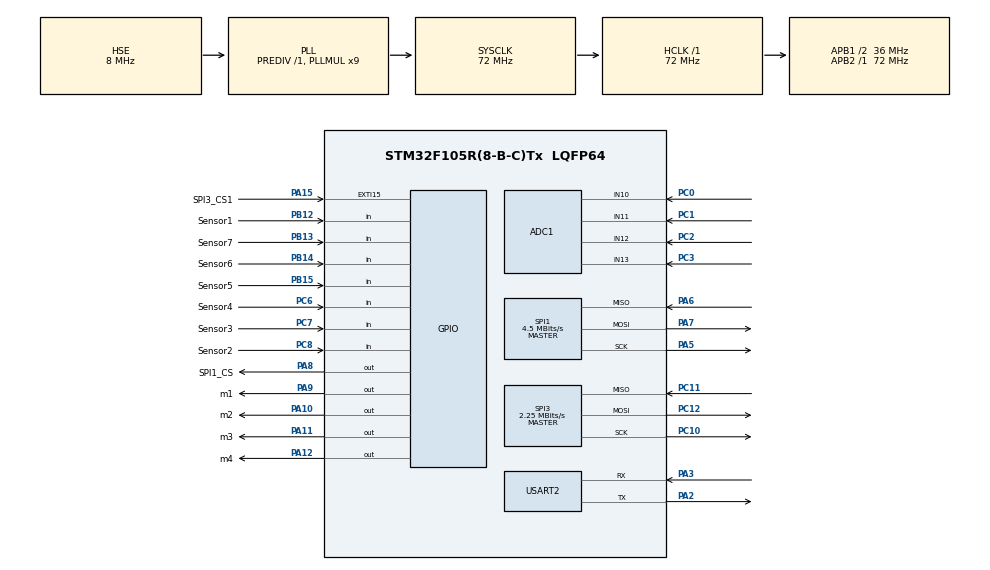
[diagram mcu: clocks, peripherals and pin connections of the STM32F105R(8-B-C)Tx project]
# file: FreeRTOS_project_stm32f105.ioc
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ADC1.Channel-0\#ChannelRegularConversion=ADC_CHANNEL_10
ADC1.NbrOfConversion=1
ADC1.NbrOfConversionFlag=1
ADC1.Rank-0\#ChannelRegularConversion=1
ADC1.SamplingTime-0\#ChannelRegularConversion=ADC_SAMPLETIME_55CYCLES_5
ADC1.master=1
Dma.ADC1.0.Direction=DMA_PERIPH_TO_MEMORY
Dma.ADC1.0.Instance=DMA1_Channel1
Dma.ADC1.0.MemDataAlignment=DMA_MDATAALIGN_WORD
Dma.ADC1.0.MemInc=DMA_MINC_ENABLE
Dma.ADC1.0.Mode=DMA_CIRCULAR
Dma.ADC1.0.PeriphDataAlignment=DMA_PDATAALIGN_WORD
Dma.ADC1.0.PeriphInc=DMA_PINC_DISABLE
Dma.ADC1.0.Priority=DMA_PRIORITY_LOW
Dma.Request0=ADC1
Dma.Request1=USART2_RX
Dma.USART2_RX.1.Direction=DMA_PERIPH_TO_MEMORY
Dma.USART2_RX.1.Instance=DMA1_Channel6
Dma.USART2_RX.1.MemDataAlignment=DMA_MDATAALIGN_BYTE
Dma.USART2_RX.1.MemInc=DMA_MINC_ENABLE
Dma.USART2_RX.1.Mode=DMA_NORMAL
Dma.USART2_RX.1.PeriphDataAlignment=DMA_PDATAALIGN_BYTE
Dma.USART2_RX.1.PeriphInc=DMA_PINC_DISABLE
Dma.USART2_RX.1.Priority=DMA_PRIORITY_LOW
FREERTOS.HEAP_NUMBER=3
FREERTOS.INCLUDE_vTaskDelayUntil=1
FREERTOS.Tasks01=defaultTask,0,128,StartDefaultTask,Default,NULL,Dynamic,NULL,NULL;Task2,0,128,Task2_Init,Default,NULL,Dynamic,NULL,NULL;Task3,0,128,Task3_Init,Default,NULL,Dynamic,NULL,NULL;Task4,0,128,Task4_Init,Default,NULL,Dynamic,NULL,NULL;Task5,0,128,Task5_Init,Default,NULL,Dynamic,NULL,NULL;Task6,0,128,Task6_Init,Default,NULL,Dynamic,NULL,NULL;Task7,0,128,Task7_Init,Default,NULL,Dynamic,NULL,NULL;Task8,0,128,Task8_Init,Default,NULL,Dynamic,NULL,NULL;Task9,-3,128,Task9_Init,Default,NULL,Dynamic,NULL,NULL
FREERTOS.configTOTAL_HEAP_SIZE=5616
FREERTOS.configUSE_NEWLIB_REENTRANT=1
FREERTOS.configUSE_TIMERS=0
Mcu.Family=STM32F1
Mcu.Name=STM32F105R(8-B-C)Tx
Mcu.Package=LQFP64
NVIC.DMA1_Channel1_IRQn=true\:5\:0\:false\:false\:true\:true\:false\:true\:true
NVIC.DMA1_Channel6_IRQn=true\:5\:0\:false\:false\:true\:true\:false\:true\:true
NVIC.PriorityGroup=NVIC_PRIORITYGROUP_4
NVIC.TIM1_UP_IRQn=true\:15\:0\:false\:false\:true\:false\:false\:true\:true
NVIC.TimeBase=TIM1_UP_IRQn
NVIC.TimeBaseIP=TIM1
NVIC.USART2_IRQn=true\:5\:0\:false\:false\:true\:true\:true\:true\:true
PA10.GPIO_Label=m2
PA10.Signal=GPIO_Output
PA11.GPIO_Label=m3
PA11.Signal=GPIO_Output
PA12.GPIO_Label=m4
PA12.Signal=GPIO_Output
PA15.GPIO_Label=SPI3_CS1
PA15.Signal=GPXTI15
PA2.Mode=Asynchronous
PA2.Signal=USART2_TX
PA3.Mode=Asynchronous
PA3.Signal=USART2_RX
PA5.Mode=Full_Duplex_Master
PA5.Signal=SPI1_SCK
PA6.Mode=Full_Duplex_Master
PA6.Signal=SPI1_MISO
PA7.Mode=Full_Duplex_Master
PA7.Signal=SPI1_MOSI
PA8.GPIO_Label=SPI1_CS
PA8.Signal=GPIO_Output
PA9.GPIO_Label=m1
PA9.Signal=GPIO_Output
PB12.GPIO_Label=Sensor1
PB12.Signal=GPIO_Input
PB13.GPIO_Label=Sensor7
PB13.Signal=GPIO_Input
PB14.GPIO_Label=Sensor6
PB14.Signal=GPIO_Input
PB15.GPIO_Label=Sensor5
PB15.Signal=GPIO_Input
PC0.Signal=ADCx_IN10
PC1.Signal=ADCx_IN11
PC10.Mode=Full_Duplex_Master
PC10.Signal=SPI3_SCK
PC11.Mode=Full_Duplex_Master
PC11.Signal=SPI3_MISO
PC12.Mode=Full_Duplex_Master
PC12.Signal=SPI3_MOSI
PC2.Signal=ADCx_IN12
PC3.Signal=ADCx_IN13
PC6.GPIO_Label=Sensor4
PC6.Signal=GPIO_Input
PC7.GPIO_Label=Sensor3
PC7.Signal=GPIO_Input
PC8.GPIO_Label=Sensor2
PC8.Signal=GPIO_Input
PD0-OSC_IN.Mode=HSE-External-Oscillator
PD0-OSC_IN.Signal=RCC_OSC_IN
PD1-OSC_OUT.Mode=HSE-External-Oscillator
PD1-OSC_OUT.Signal=RCC_OSC_OUT
ProjectManager.HeapSize=0x200
ProjectManager.StackSize=0x400
ProjectManager.TargetToolchain=STM32CubeIDE
RCC.ADCPresc=RCC_ADCPCLK2_DIV6
RCC.AHBFreq_Value=72000000
RCC.APB1CLKDivider=RCC_HCLK_DIV2
RCC.APB1Freq_Value=36000000
RCC.APB1TimFreq_Value=72000000
RCC.APB2Freq_Value=72000000
RCC.APB2TimFreq_Value=72000000
RCC.HCLKFreq_Value=72000000
RCC.PLLMUL=RCC_PLL_MUL9
RCC.PLLSourceVirtual=RCC_PLLSOURCE_HSE
RCC.SYSCLKFreq_VALUE=72000000
RCC.SYSCLKSource=RCC_SYSCLKSOURCE_PLLCLK
RCC.USBFreq_Value=48000000
SH.ADCx_IN10.0=ADC1_IN10,IN10
SH.ADCx_IN11.0=ADC1_IN11,IN11
SH.ADCx_IN12.0=ADC1_IN12,IN12
SH.ADCx_IN13.0=ADC1_IN13,IN13
SPI1.BaudRatePrescaler=SPI_BAUDRATEPRESCALER_16
SPI1.CLKPhase=SPI_PHASE_2EDGE
SPI1.CalculateBaudRate=4.5 MBits/s
SPI1.Direction=SPI_DIRECTION_2LINES
SPI1.Mode=SPI_MODE_MASTER
SPI1.VirtualType=VM_MASTER
SPI3.BaudRatePrescaler=SPI_BAUDRATEPRESCALER_16
SPI3.CLKPhase=SPI_PHASE_2EDGE
SPI3.CalculateBaudRate=2.25 MBits/s
SPI3.Direction=SPI_DIRECTION_2LINES
SPI3.Mode=SPI_MODE_MASTER
SPI3.VirtualType=VM_MASTER
USART2.VirtualMode=VM_ASYNC
VP_FREERTOS_VS_CMSIS_V1.Mode=CMSIS_V1
VP_SYS_VS_tim1.Mode=TIM1
board=custom

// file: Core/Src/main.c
/* USER CODE BEGIN Header */
/**
 ******************************************************************************
 * @file           : main.c
 * @brief          : Main program body
 ******************************************************************************
 * @attention
 *
 * Copyright (c) 2023 STMicroelectronics.
 * All rights reserved.
 *
 * This software is licensed under terms that can be found in the LICENSE file
 * in the root directory of this software component.
 * If no LICENSE file comes with this software, it is provided AS-IS.
 *
 ******************************************************************************
 */
/* USER CODE END Header */
#include "main.h"
#include "cmsis_os.h"

/* USER CODE BEGIN Includes */
#include <stdbool.h>
#include <stdlib.h>
#include <string.h>
#include <stdio.h>
#include "MAX31865_lib.h"
#include "MAX31865_lib2.h"
/* USER CODE END Includes */

/* USER CODE BEGIN PTD */
bool task2=0;
int i=0;
int a[1]={3};
int adc_val1=0;
uint8_t str[10]="";
int adc_val2=0;
uint8_t str2[10]="";
int adc_val3=0;
uint8_t str3[10]="";
int adc_val4=0;
uint8_t str4[10]="";

bool durum=0;
uint8_t Sensor1;
uint8_t Sensor2;
uint8_t Sensor3;
uint8_t Sensor4;
uint8_t Sensor5;
uint8_t Sensor6;
uint8_t Sensor7;

uint32_t currentTime = 0;
uint32_t previousTime = 0;
char txdata[8];
char txdatanew[8];

uint8_t final_data[8]={0,0,0,0,0,0,0,0};

char TxData;
uint8_t rxBuf[8];
uint8_t rxindex = 0;
uint8_t rxindex_2 = 0;

char txdatanew[8];
uint8_t Buf_1ch[1];
uint8_t len=0;

char temperature[10];
char temperatureHopper[10];
float PT100_Temperature = 0.0f;
float PT100_TemperatureHopper = 0.0f;
float temp=0;
float temp1=0;

/* USER CODE END PTD */

ADC_HandleTypeDef hadc1;
DMA_HandleTypeDef hdma_adc1;

SPI_HandleTypeDef hspi1;
SPI_HandleTypeDef hspi3;

UART_HandleTypeDef huart2;
DMA_HandleTypeDef hdma_usart2_rx;

osThreadId defaultTaskHandle;
osThreadId Task2Handle;
osThreadId Task3Handle;
osThreadId Task4Handle;
osThreadId Task5Handle;
osThreadId Task6Handle;
osThreadId Task7Handle;
osThreadId Task8Handle;
osThreadId Task9Handle;

void SystemClock_Config(void);
static void MX_GPIO_Init(void);
static void MX_DMA_Init(void);
static void MX_USART2_UART_Init(void);
static void MX_SPI1_Init(void);
static void MX_SPI3_Init(void);
static void MX_ADC1_Init(void);
void StartDefaultTask(void const * argument);
void Task2_Init(void const * argument);
void Task3_Init(void const * argument);
void Task4_Init(void const * argument);
void Task5_Init(void const * argument);
void Task6_Init(void const * argument);
void Task7_Init(void const * argument);
void Task8_Init(void const * argument);
void Task9_Init(void const * argument);

/* USER CODE BEGIN 0 */
void HAL_UART_RxCpltCallback(UART_HandleTypeDef *huart) {

}
float Get_Temperature_Cylinder(){
	PT100_Temperature = MAX31865_Get_Temperature();
	if (PT100_Temperature >= 0) {
		PT100_Temperature = PT100_Temperature + 0.05;
		sprintf(temperature, "+%d.%d", (uint16_t) (PT100_Temperature),((uint16_t) (PT100_Temperature * 100)- ((uint16_t) PT100_Temperature) * 100) / 10);
		temp = (float)atof(temperature);
	}
	else {
		PT100_Temperature = -PT100_Temperature + 0.05;
		sprintf(temperature, "-%d.%d", (uint16_t) (PT100_Temperature),((uint16_t) (PT100_Temperature * 100)- ((uint16_t) PT100_Temperature) * 100) / 10);
		temp = (float)atof(temperature);
	}
	return temp;
}

float Get_Temperature_Hopper(){
	PT100_TemperatureHopper = MAX31865_Get_Temperature2();
	if (PT100_TemperatureHopper >= 0) {
		PT100_TemperatureHopper = PT100_TemperatureHopper + 0.05;
		sprintf(temperatureHopper, "+%d.%d", (uint16_t) (PT100_TemperatureHopper),((uint16_t) (PT100_TemperatureHopper * 100)- ((uint16_t) PT100_TemperatureHopper) * 100) / 10);
		temp1 = (float)atof(temperatureHopper);
	}
	else {
		PT100_TemperatureHopper = -PT100_TemperatureHopper + 0.05;
		sprintf(temperatureHopper, "-%d.%d", (uint16_t) (PT100_TemperatureHopper),((uint16_t) (PT100_TemperatureHopper * 100)- ((uint16_t) PT100_TemperatureHopper) * 100) / 10);
		temp1 = (float)atof(temperatureHopper);
	}
	return temp1;
}
void sendData(char *data) {
	len = sizeof(txdata) / sizeof(txdata[0]);
	for (int i = 0; i < len; i++) {
		txdata[i] = data[i];
	}
	sprintf(txdatanew, "%s",txdata);
	HAL_UART_Transmit(&huart2, (uint8_t*)&txdatanew, 8, 500);
}
/* USER CODE END 0 */

int main(void)
{

  /* MCU Configuration--------------------------------------------------------*/

  /* Reset of all peripherals, Initializes the Flash interface and the Systick. */
  HAL_Init();

  /* Configure the system clock */
  SystemClock_Config();

  /* Initialize all configured peripherals */
  MX_GPIO_Init();
  MX_DMA_Init();
  MX_USART2_UART_Init();
  MX_SPI1_Init();
  MX_SPI3_Init();
  MX_ADC1_Init();
  /* USER CODE BEGIN 2 */
	MAX31865_Init(3); // num of wires
	MAX31865_2_Init(3); // num of wires

	HAL_UART_Receive_DMA(&huart2, Buf_1ch, 8); // dmayı tekrar kurduk yine alabilsin diye
	__HAL_DMA_DISABLE_IT(&hdma_usart2_rx, DMA_IT_HT);
  /* USER CODE END 2 */

  /* Create the thread(s) */
  /* definition and creation of defaultTask */
  osThreadDef(defaultTask, StartDefaultTask, osPriorityNormal, 0, 128);
  defaultTaskHandle = osThreadCreate(osThread(defaultTask), NULL);

  /* definition and creation of Task2 */
  osThreadDef(Task2, Task2_Init, osPriorityNormal, 0, 128);
  Task2Handle = osThreadCreate(osThread(Task2), NULL);

  /* definition and creation of Task3 */
  osThreadDef(Task3, Task3_Init, osPriorityNormal, 0, 128);
  Task3Handle = osThreadCreate(osThread(Task3), NULL);

  /* definition and creation of Task4 */
  osThreadDef(Task4, Task4_Init, osPriorityNormal, 0, 128);
  Task4Handle = osThreadCreate(osThread(Task4), NULL);

  /* definition and creation of Task5 */
  osThreadDef(Task5, Task5_Init, osPriorityNormal, 0, 128);
  Task5Handle = osThreadCreate(osThread(Task5), NULL);

  /* definition and creation of Task6 */
  osThreadDef(Task6, Task6_Init, osPriorityNormal, 0, 128);
  Task6Handle = osThreadCreate(osThread(Task6), NULL);

  /* definition and creation of Task7 */
  osThreadDef(Task7, Task7_Init, osPriorityNormal, 0, 128);
  Task7Handle = osThreadCreate(osThread(Task7), NULL);

  /* definition and creation of Task8 */
  osThreadDef(Task8, Task8_Init, osPriorityNormal, 0, 128);
  Task8Handle = osThreadCreate(osThread(Task8), NULL);

  /* definition and creation of Task9 */
  osThreadDef(Task9, Task9_Init, osPriorityIdle, 0, 128);
  Task9Handle = osThreadCreate(osThread(Task9), NULL);

  /* Start scheduler */
  osKernelStart();

  /* We should never get here as control is now taken by the scheduler */
  /* Infinite loop */
	while (1)
	{

	}
}

void SystemClock_Config(void)
{
  RCC_OscInitTypeDef RCC_OscInitStruct = {0};
  RCC_ClkInitTypeDef RCC_ClkInitStruct = {0};
  RCC_PeriphCLKInitTypeDef PeriphClkInit = {0};

  /** Initializes the RCC Oscillators according to the specified parameters
  * in the RCC_OscInitTypeDef structure.
  */
  RCC_OscInitStruct.OscillatorType = RCC_OSCILLATORTYPE_HSE;
  RCC_OscInitStruct.HSEState = RCC_HSE_ON;
  RCC_OscInitStruct.HSEPredivValue = RCC_HSE_PREDIV_DIV1;
  RCC_OscInitStruct.HSIState = RCC_HSI_ON;
  RCC_OscInitStruct.Prediv1Source = RCC_PREDIV1_SOURCE_HSE;
  RCC_OscInitStruct.PLL.PLLState = RCC_PLL_ON;
  RCC_OscInitStruct.PLL.PLLSource = RCC_PLLSOURCE_HSE;
  RCC_OscInitStruct.PLL.PLLMUL = RCC_PLL_MUL9;
  RCC_OscInitStruct.PLL2.PLL2State = RCC_PLL_NONE;
  if (HAL_RCC_OscConfig(&RCC_OscInitStruct) != HAL_OK)
  {
    Error_Handler();
  }

  /** Initializes the CPU, AHB and APB buses clocks
  */
  RCC_ClkInitStruct.ClockType = RCC_CLOCKTYPE_HCLK|RCC_CLOCKTYPE_SYSCLK
                              |RCC_CLOCKTYPE_PCLK1|RCC_CLOCKTYPE_PCLK2;
  RCC_ClkInitStruct.SYSCLKSource = RCC_SYSCLKSOURCE_PLLCLK;
  RCC_ClkInitStruct.AHBCLKDivider = RCC_SYSCLK_DIV1;
  RCC_ClkInitStruct.APB1CLKDivider = RCC_HCLK_DIV2;
  RCC_ClkInitStruct.APB2CLKDivider = RCC_HCLK_DIV1;

  if (HAL_RCC_ClockConfig(&RCC_ClkInitStruct, FLASH_LATENCY_2) != HAL_OK)
  {
    Error_Handler();
  }
  PeriphClkInit.PeriphClockSelection = RCC_PERIPHCLK_ADC;
  PeriphClkInit.AdcClockSelection = RCC_ADCPCLK2_DIV6;
  if (HAL_RCCEx_PeriphCLKConfig(&PeriphClkInit) != HAL_OK)
  {
    Error_Handler();
  }

  /** Configure the Systick interrupt time
  */
  __HAL_RCC_PLLI2S_ENABLE();
}

static void MX_ADC1_Init(void)
{

  ADC_ChannelConfTypeDef sConfig = {0};

  /** Common config
  */
  hadc1.Instance = ADC1;
  hadc1.Init.ScanConvMode = ADC_SCAN_DISABLE;
  hadc1.Init.ContinuousConvMode = DISABLE;
  hadc1.Init.DiscontinuousConvMode = DISABLE;
  hadc1.Init.ExternalTrigConv = ADC_SOFTWARE_START;
  hadc1.Init.DataAlign = ADC_DATAALIGN_RIGHT;
  hadc1.Init.NbrOfConversion = 1;
  if (HAL_ADC_Init(&hadc1) != HAL_OK)
  {
    Error_Handler();
  }

  /** Configure Regular Channel
  */
  sConfig.Channel = ADC_CHANNEL_10;
  sConfig.Rank = ADC_REGULAR_RANK_1;
  sConfig.SamplingTime = ADC_SAMPLETIME_55CYCLES_5;
  if (HAL_ADC_ConfigChannel(&hadc1, &sConfig) != HAL_OK)
  {
    Error_Handler();
  }

}

static void MX_SPI1_Init(void)
{

  /* SPI1 parameter configuration*/
  hspi1.Instance = SPI1;
  hspi1.Init.Mode = SPI_MODE_MASTER;
  hspi1.Init.Direction = SPI_DIRECTION_2LINES;
  hspi1.Init.DataSize = SPI_DATASIZE_8BIT;
  hspi1.Init.CLKPolarity = SPI_POLARITY_LOW;
  hspi1.Init.CLKPhase = SPI_PHASE_2EDGE;
  hspi1.Init.NSS = SPI_NSS_SOFT;
  hspi1.Init.BaudRatePrescaler = SPI_BAUDRATEPRESCALER_16;
  hspi1.Init.FirstBit = SPI_FIRSTBIT_MSB;
  hspi1.Init.TIMode = SPI_TIMODE_DISABLE;
  hspi1.Init.CRCCalculation = SPI_CRCCALCULATION_DISABLE;
  hspi1.Init.CRCPolynomial = 10;
  if (HAL_SPI_Init(&hspi1) != HAL_OK)
  {
    Error_Handler();
  }

}

static void MX_SPI3_Init(void)
{

  /* SPI3 parameter configuration*/
  hspi3.Instance = SPI3;
  hspi3.Init.Mode = SPI_MODE_MASTER;
  hspi3.Init.Direction = SPI_DIRECTION_2LINES;
  hspi3.Init.DataSize = SPI_DATASIZE_8BIT;
  hspi3.Init.CLKPolarity = SPI_POLARITY_LOW;
  hspi3.Init.CLKPhase = SPI_PHASE_2EDGE;
  hspi3.Init.NSS = SPI_NSS_SOFT;
  hspi3.Init.BaudRatePrescaler = SPI_BAUDRATEPRESCALER_16;
  hspi3.Init.FirstBit = SPI_FIRSTBIT_MSB;
  hspi3.Init.TIMode = SPI_TIMODE_DISABLE;
  hspi3.Init.CRCCalculation = SPI_CRCCALCULATION_DISABLE;
  hspi3.Init.CRCPolynomial = 10;
  if (HAL_SPI_Init(&hspi3) != HAL_OK)
  {
    Error_Handler();
  }

}

static void MX_USART2_UART_Init(void)
{

  huart2.Instance = USART2;
  huart2.Init.BaudRate = 115200;
  huart2.Init.WordLength = UART_WORDLENGTH_8B;
  huart2.Init.StopBits = UART_STOPBITS_1;
  huart2.Init.Parity = UART_PARITY_NONE;
  huart2.Init.Mode = UART_MODE_TX_RX;
  huart2.Init.HwFlowCtl = UART_HWCONTROL_NONE;
  huart2.Init.OverSampling = UART_OVERSAMPLING_16;
  if (HAL_UART_Init(&huart2) != HAL_OK)
  {
    Error_Handler();
  }

}

static void MX_DMA_Init(void)
{

  /* DMA controller clock enable */
  __HAL_RCC_DMA1_CLK_ENABLE();

  /* DMA interrupt init */
  /* DMA1_Channel1_IRQn interrupt configuration */
  HAL_NVIC_SetPriority(DMA1_Channel1_IRQn, 5, 0);
  HAL_NVIC_EnableIRQ(DMA1_Channel1_IRQn);
  /* DMA1_Channel6_IRQn interrupt configuration */
  HAL_NVIC_SetPriority(DMA1_Channel6_IRQn, 5, 0);
  HAL_NVIC_EnableIRQ(DMA1_Channel6_IRQn);

}

static void MX_GPIO_Init(void)
{
  GPIO_InitTypeDef GPIO_InitStruct = {0};

  /* GPIO Ports Clock Enable */
  __HAL_RCC_GPIOD_CLK_ENABLE();
  __HAL_RCC_GPIOC_CLK_ENABLE();
  __HAL_RCC_GPIOA_CLK_ENABLE();
  __HAL_RCC_GPIOB_CLK_ENABLE();

  /*Configure GPIO pin Output Level */
  HAL_GPIO_WritePin(GPIOA, SPI1_CS_Pin|m1_Pin|m2_Pin|m3_Pin
                          |m4_Pin, GPIO_PIN_RESET);

  /*Configure GPIO pins : Sensor1_Pin Sensor7_Pin Sensor6_Pin Sensor5_Pin */
  GPIO_InitStruct.Pin = Sensor1_Pin|Sensor7_Pin|Sensor6_Pin|Sensor5_Pin;
  GPIO_InitStruct.Mode = GPIO_MODE_INPUT;
  GPIO_InitStruct.Pull = GPIO_NOPULL;
  HAL_GPIO_Init(GPIOB, &GPIO_InitStruct);

  /*Configure GPIO pins : Sensor4_Pin Sensor3_Pin Sensor2_Pin */
  GPIO_InitStruct.Pin = Sensor4_Pin|Sensor3_Pin|Sensor2_Pin;
  GPIO_InitStruct.Mode = GPIO_MODE_INPUT;
  GPIO_InitStruct.Pull = GPIO_NOPULL;
  HAL_GPIO_Init(GPIOC, &GPIO_InitStruct);

  /*Configure GPIO pins : SPI1_CS_Pin m1_Pin m2_Pin m3_Pin
                           m4_Pin */
  GPIO_InitStruct.Pin = SPI1_CS_Pin|m1_Pin|m2_Pin|m3_Pin
                          |m4_Pin;
  GPIO_InitStruct.Mode = GPIO_MODE_OUTPUT_PP;
  GPIO_InitStruct.Pull = GPIO_NOPULL;
  GPIO_InitStruct.Speed = GPIO_SPEED_FREQ_LOW;
  HAL_GPIO_Init(GPIOA, &GPIO_InitStruct);

  /*Configure GPIO pin : SPI3_CS1_Pin */
  GPIO_InitStruct.Pin = SPI3_CS1_Pin;
  GPIO_InitStruct.Mode = GPIO_MODE_IT_RISING;
  GPIO_InitStruct.Pull = GPIO_NOPULL;
  HAL_GPIO_Init(SPI3_CS1_GPIO_Port, &GPIO_InitStruct);

}

void StartDefaultTask(void const * argument)
{
  /* USER CODE BEGIN 5 */
	/* Infinite loop */
	for(;;)
	{
		i++;
		HAL_Delay(1000);
		if(i==3){
			task2=1;
		}
		osDelay(50);
	}
  /* USER CODE END 5 */
}

void Task2_Init(void const * argument)
{
  /* USER CODE BEGIN Task2_Init */
	/* Infinite loop */
	for(;;)
	{
		if(task2==1){
			HAL_GPIO_WritePin(GPIOA, GPIO_PIN_12, GPIO_PIN_SET);
			HAL_Delay(1000);
			HAL_GPIO_WritePin(GPIOA, GPIO_PIN_12, GPIO_PIN_RESET);
			HAL_Delay(1000);}
		osDelay(25);
	}
  /* USER CODE END Task2_Init */
}

void Task3_Init(void const * argument)
{
  /* USER CODE BEGIN Task3_Init */
	/* Infinite loop */
	for(;;)
	{
		ADC_ChannelConfTypeDef sConfig = {3};

		sConfig.Channel = ADC_CHANNEL_10;
		sConfig.Rank = ADC_REGULAR_RANK_1;
		sConfig.SamplingTime = ADC_SAMPLETIME_55CYCLES_5;
		if (HAL_ADC_ConfigChannel(&hadc1, &sConfig) != HAL_OK)
		{
			Error_Handler();
		}
		HAL_ADC_Start(&hadc1);
		HAL_ADC_PollForConversion(&hadc1,100);
		adc_val1=(float)HAL_ADC_GetValue(&hadc1);
		HAL_ADC_Stop(&hadc1);
		sprintf(str,"%d",adc_val1);
		HAL_UART_Transmit(&huart2,str,sizeof(str),500);
		//		  ADC_ChannelConfTypeDef sConfig = {1};

		sConfig.Channel = ADC_CHANNEL_11;
		sConfig.Rank = ADC_REGULAR_RANK_1;
		sConfig.SamplingTime = ADC_SAMPLETIME_55CYCLES_5;
		if (HAL_ADC_ConfigChannel(&hadc1, &sConfig) != HAL_OK)
		{
			Error_Handler();
		}
		HAL_ADC_Start(&hadc1);
		HAL_ADC_PollForConversion(&hadc1,100);
		adc_val2=(float)HAL_ADC_GetValue(&hadc1);
		HAL_ADC_Stop(&hadc1);
		sprintf(str2,"%d",adc_val2);
		HAL_UART_Transmit(&huart2,str2,sizeof(str2),500);

		sConfig.Channel = ADC_CHANNEL_12;
		sConfig.Rank = ADC_REGULAR_RANK_1;
		sConfig.SamplingTime = ADC_SAMPLETIME_55CYCLES_5;
		if (HAL_ADC_ConfigChannel(&hadc1, &sConfig) != HAL_OK)
		{
			Error_Handler();
		}
		HAL_ADC_Start(&hadc1);
		HAL_ADC_PollForConversion(&hadc1,100);
		adc_val3=(float)HAL_ADC_GetValue(&hadc1);
		HAL_ADC_Stop(&hadc1);
		sprintf(str3,"%d",adc_val2);
		HAL_UART_Transmit(&huart2,str3,sizeof(str3),500);

		sConfig.Channel = ADC_CHANNEL_13;
		sConfig.Rank = ADC_REGULAR_RANK_1;
		sConfig.SamplingTime = ADC_SAMPLETIME_55CYCLES_5;
		if (HAL_ADC_ConfigChannel(&hadc1, &sConfig) != HAL_OK)
		{
			Error_Handler();
		}
		HAL_ADC_Start(&hadc1);
		HAL_ADC_PollForConversion(&hadc1,100);
		adc_val4=(float)HAL_ADC_GetValue(&hadc1);
		HAL_ADC_Stop(&hadc1);
		sprintf(str4,"%d",adc_val4);
		HAL_UART_Transmit(&huart2,str4,sizeof(str4),500);

		osDelay(200);
	}
  /* USER CODE END Task3_Init */
}

void Task4_Init(void const * argument)
{
  /* USER CODE BEGIN Task4_Init */
	/* Infinite loop */
	for(;;)
	{
		Sensor1 = HAL_GPIO_ReadPin(GPIOB,Sensor1_Pin);
		Sensor2 = HAL_GPIO_ReadPin(GPIOC,Sensor2_Pin);
		Sensor3 = HAL_GPIO_ReadPin(GPIOC,Sensor3_Pin);
		Sensor4 = HAL_GPIO_ReadPin(GPIOC,Sensor4_Pin);
		Sensor5 = HAL_GPIO_ReadPin(GPIOB,Sensor5_Pin);
		Sensor6 = HAL_GPIO_ReadPin(GPIOB,Sensor6_Pin);
		Sensor7 = HAL_GPIO_ReadPin(GPIOB,Sensor7_Pin);
		osDelay(100);
	}
  /* USER CODE END Task4_Init */
}

void Task5_Init(void const * argument)
{
  /* USER CODE BEGIN Task5_Init */
	/* Infinite loop */
	for(;;)
	{

		HAL_UART_Receive_DMA(&huart2, final_data, 8);
		osDelay(100);
	}
  /* USER CODE END Task5_Init */
}

void Task6_Init(void const * argument)
{
  /* USER CODE BEGIN Task6_Init */
	/* Infinite loop */
	for(;;)
	{
		Get_Temperature_Cylinder();
				Get_Temperature_Hopper();
		osDelay(300);
	}
  /* USER CODE END Task6_Init */
}

void Task7_Init(void const * argument)
{
	for(;;)
	{
		osDelay(1);
	}
}

void Task8_Init(void const * argument)
{
  /* USER CODE BEGIN Task8_Init */
	/* Infinite loop */
	for(;;)
	{
		sendData("0000000");

		if(durum==1){
			HAL_GPIO_WritePin(GPIOA, m1_Pin|m2_Pin|m3_Pin
					|m4_Pin, GPIO_PIN_SET);

		}
		else{
			HAL_GPIO_WritePin(GPIOA, m1_Pin|m2_Pin|m3_Pin
					|m4_Pin, GPIO_PIN_RESET);
		}
		osDelay(75);
	}
  /* USER CODE END Task8_Init */
}

void Task9_Init(void const * argument)
{
  /* USER CODE BEGIN Task9_Init */
	/* Infinite loop */
	for(;;)
	{

		osDelay(20);

	}
  /* USER CODE END Task9_Init */
}

void HAL_TIM_PeriodElapsedCallback(TIM_HandleTypeDef *htim)
{
  if (htim->Instance == TIM1) {
    HAL_IncTick();
  }
}

void Error_Handler(void)
{
	__disable_irq();
	while (1)
	{
	}
}
